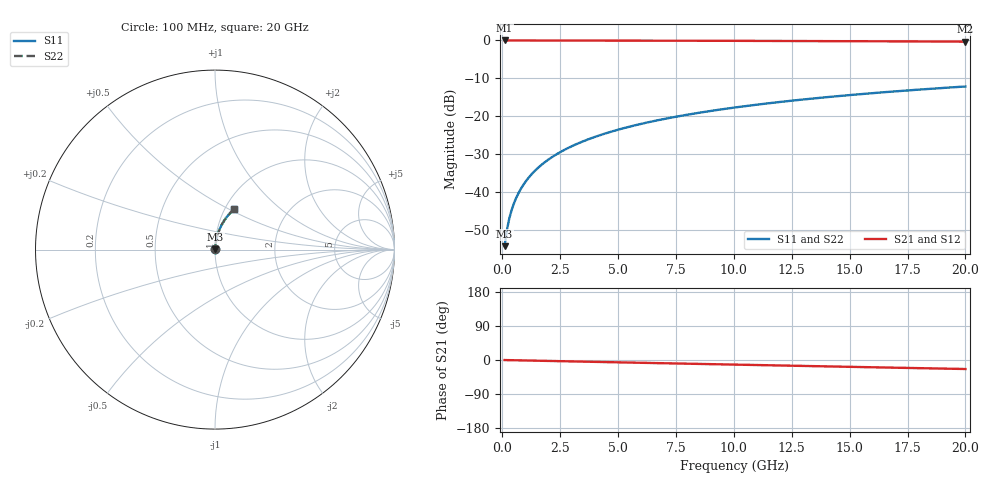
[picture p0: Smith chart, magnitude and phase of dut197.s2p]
! Touchstone file exported from HFSS 2026.1.0
!  File:  C:/ffzhzh/LocalFiles/Ansys_Project_Files/temp_train_TMRDL_197_1782983910_40604.aedt
!  Generated:  05:19:48 PM Jul  2, 2026
!  Design:  TMRDL
!  Project:  temp_train_TMRDL_197_1782983910_40604
! Variables:
!  h_bsmrdl = 2um
!  h_ox = 20um
!  h_rdl = 5um
!  h_sub = 80um
!  h_tmrdl = 3.82um
!  h_tsv = 80um
!  h_via = 3um
!  l_bsmrdl = 300um
!  l_sub = 694.76um
!  l_tmrdl = 294.76um
!  m_sub = 200um
!  pitch = 58.81um
!  r_tsv = 6um
!  s_tmrdl = 10um
!  w_bsmrdl = 18um
!  w_sub = 500um
!  w_tmrdl = 25.68um
!  x_tsv_center1 = 307.6um
!  x_tsv_center2 = 625.6um
!  x_tsv_center3 = 946.04um
!  x_tsv_center4 = 1264.04um
!  x_tsv_center5 = 1584.48um
!  x_tsv_center6 = 1902.48um
# GHz S MA R 50.000000
! Terminal data exported
! Port[1] = TM_RDL1_1_T1
! Port[2] = TM_RDL1_1_T2
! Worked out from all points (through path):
!   200 points, 100 MHz to 20 GHz, reference 50 ohm
!   highest |S21| = -0.01 dB at 100 MHz (marker M1); lowest = -0.3 dB at 20 GHz (marker M2)
!   group delay of S21, straight-line fit = 3.3 ps
!   lowest |S11| = -54.3 dB at 100 MHz (marker M3), VSWR 1.00, Z = 50.1 + j0.145 ohm
!   |S11| at or under -10 dB: start of sweep to end of sweep
!   |S22| runs from -54.3 to -12.2 dB; largest |S21 - S12| = 3.5e-15
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0.1  0.001937 48.4  0.9987 -0.1  0.9987 -0.1  0.001937 48.4
! Gamma 0 0 0 0
! Port Impedance 50 0 50 0
0.2  0.003164 64.4  0.9986 -0.3  0.9986 -0.3  0.003164 64.4
0.3  0.00446 71.0  0.9986 -0.4  0.9986 -0.4  0.00446 71.0
0.4  0.005764 74.6  0.9985 -0.5  0.9985 -0.5  0.005764 74.6
0.5  0.00707 76.9  0.9985 -0.6  0.9985 -0.6  0.00707 76.9
0.7  0.009696 79.7  0.9984 -0.9  0.9984 -0.9  0.009696 79.7
0.8  0.01102 80.6  0.9983 -1.0  0.9983 -1.0  0.01102 80.6
1  0.01366 81.8  0.9983 -1.2  0.9983 -1.2  0.01366 81.8
1.2  0.01632 82.6  0.9982 -1.5  0.9982 -1.5  0.01632 82.6
1.4  0.01898 83.1  0.9981 -1.7  0.9981 -1.7  0.01898 83.1
1.7  0.02298 83.5  0.998 -2.1  0.998 -2.1  0.02298 83.5
2  0.02698 83.6  0.9978 -2.5  0.9978 -2.5  0.02698 83.6
2.7  0.03629 83.5  0.9974 -3.3  0.9974 -3.3  0.03629 83.5
3.5  0.04687 83.0  0.9967 -4.3  0.9967 -4.3  0.04687 83.0
4.2  0.05607 82.4  0.996 -5.2  0.996 -5.2  0.05607 82.4
5  0.06651 81.6  0.9951 -6.2  0.9951 -6.2  0.06651 81.6
6.8  0.08969 79.6  0.9928 -8.3  0.9928 -8.3  0.08969 79.6
8.3  0.1087 77.9  0.9904 -10.1  0.9904 -10.1  0.1087 77.9
10.1  0.1312 75.9  0.9873 -12.3  0.9873 -12.3  0.1312 75.9
13.4  0.1713 72.2  0.9805 -16.2  0.9805 -16.2  0.1713 72.2
16.7  0.2099 68.6  0.9725 -20.0  0.9725 -20.0  0.2099 68.6
20  0.2469 64.9  0.9634 -23.8  0.9634 -23.8  0.2469 64.9
